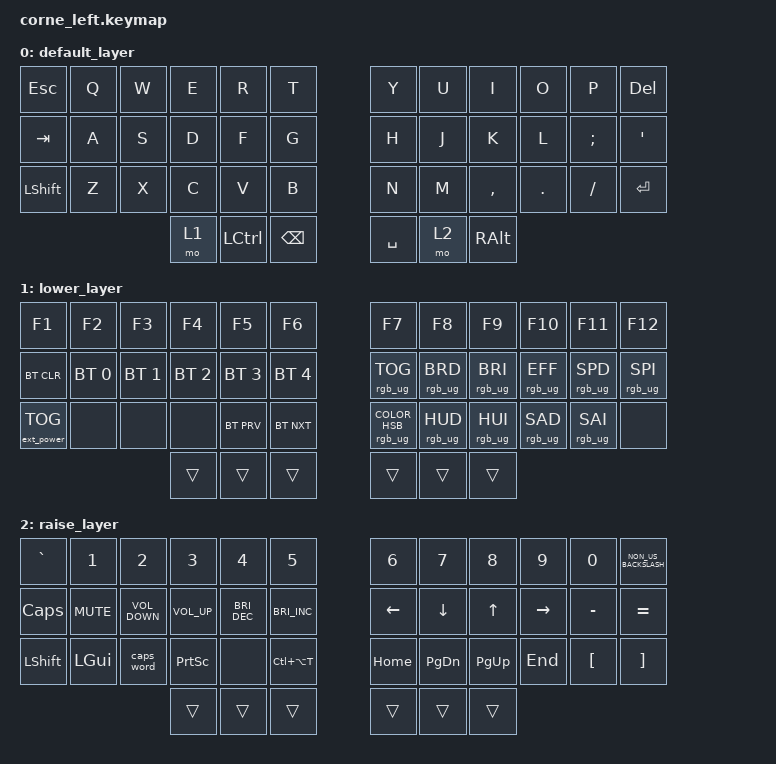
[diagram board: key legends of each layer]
/*
 * Copyright (c) 2020 The ZMK Contributors
 * 
 * SPDX-License-Identifier: MIT
 */

#include <behaviors.dtsi>
#include <dt-bindings/zmk/bt.h>
#include <dt-bindings/zmk/ext_power.h>
#include <dt-bindings/zmk/keys.h>
#include <dt-bindings/zmk/rgb.h>

/ {
    keymap {
        compatible = "zmk,keymap";

        default_layer {
            // -----------------------------------------------------------------------------------------
            // |  TAB |  Q  |  W  |  E  |  R  |  T  |   |  Y  |  U   |  I  |  O  |  P  | BKSP |
            // | CTRL |  A  |  S  |  D  |  F  |  G  |   |  H  |  J   |  K  |  L  |  ;  |  '   |
            // | SHFT |  Z  |  X  |  C  |  V  |  B  |   |  N  |  M   |  ,  |  .  |  /  | ESC  |
            //                    | GUI | LWR | SPC |   | ENT | RSE  | ALT |

            bindings = <
&kp ESCAPE  &kp Q  &kp W  &kp E  &kp R          &kp T               &kp Y  &kp U      &kp I      &kp O    &kp P     &kp DELETE
&kp TAB     &kp A  &kp S  &kp D  &kp F          &kp G               &kp H  &kp J      &kp K      &kp L    &kp SEMI  &kp SQT
&kp LSHFT   &kp Z  &kp X  &kp C  &kp V          &kp B               &kp N  &kp M      &kp COMMA  &kp DOT  &kp FSLH  &kp ENTER
                          &mo 1  &kp LEFT_CONTROL  &kp BACKSPACE &kp SPACE  &mo 2  &kp RALT
            >;
        };

        lower_layer {
            // -----------------------------------------------------------------------------------------
            // |  TAB |  1  |  2  |  3  |  4  |  5  |   |  6  |  7  |  8  |  9  |  0  | BKSP |
            // | BTCLR| BT1 | BT2 | BT3 | BT4 | BT5 |   | LFT | DWN |  UP | RGT |     |      |
            // | SHFT |     |     |     |     |     |   |     |     |     |     |     |      |
            //                    | GUI |     | SPC |   | ENT |     | ALT |

            bindings = <
&kp F1             &kp F2        &kp F3        &kp F4        &kp F5        &kp F6          &kp F7                          &kp F8           &kp F9           &kp F10          &kp F11          &kp F12
&bt BT_CLR         &bt BT_SEL 0  &bt BT_SEL 1  &bt BT_SEL 2  &bt BT_SEL 3  &bt BT_SEL 4    &rgb_ug RGB_TOG                 &rgb_ug RGB_BRD  &rgb_ug RGB_BRI  &rgb_ug RGB_EFF  &rgb_ug RGB_SPD  &rgb_ug RGB_SPI
&ext_power EP_TOG  &none         &none         &none         &bt BT_PRV    &bt BT_NXT      &rgb_ug RGB_COLOR_HSB(0,91,50)  &rgb_ug RGB_HUD  &rgb_ug RGB_HUI  &rgb_ug RGB_SAD  &rgb_ug RGB_SAI  &none
                                               &trans        &trans        &trans          &trans                          &trans           &trans
            >;
        };

        raise_layer {
            // -----------------------------------------------------------------------------------------
            // |  TAB |  !  |  @  |  #  |  $  |  %  |   |  ^  |  &  |  *  |  (  |  )  | BKSP |
            // | CTRL |     |     |     |     |     |   |  -  |  =  |  [  |  ]  |  \  |  `   |
            // | SHFT |     |     |     |     |     |   |  _  |  +  |  {  |  }  | "|" |  ~   |
            //                    | GUI |     | SPC |   | ENT |     | ALT |

            bindings = <
&kp GRAVE     &kp NUMBER_1  &kp NUMBER_2       &kp NUMBER_3     &kp NUMBER_4          &kp N5                  &kp NUMBER_6  &kp N7         &kp N8        &kp N9     &kp N0            &kp NON_US_BACKSLASH
&kp CAPSLOCK  &kp C_MUTE    &kp C_VOLUME_DOWN  &kp C_VOLUME_UP  &kp C_BRIGHTNESS_DEC  &kp C_BRIGHTNESS_INC    &kp LEFT      &kp DOWN       &kp UP_ARROW  &kp RIGHT  &kp MINUS         &kp EQUAL
&kp LSHFT     &kp LEFT_GUI  &caps_word         &kp PRINTSCREEN  &none                 &kp LC(LA(T))           &kp HOME      &kp PAGE_DOWN  &kp PAGE_UP   &kp END    &kp LEFT_BRACKET  &kp RIGHT_BRACKET
                                               &trans           &trans                &trans                  &trans        &trans         &trans
            >;
        };
    };
};


&kscan0 {
    row-gpios
        = <&pro_micro 16 (GPIO_ACTIVE_HIGH | GPIO_PULL_DOWN)>
        , <&pro_micro 5 (GPIO_ACTIVE_HIGH | GPIO_PULL_DOWN)>
        , <&pro_micro 6 (GPIO_ACTIVE_HIGH | GPIO_PULL_DOWN)>
        , <&pro_micro 7 (GPIO_ACTIVE_HIGH | GPIO_PULL_DOWN)>
        ;
    col-gpios
        = <&pro_micro 21 GPIO_ACTIVE_HIGH>
        , <&pro_micro 20 GPIO_ACTIVE_HIGH>
        , <&pro_micro 19 GPIO_ACTIVE_HIGH>
        , <&pro_micro 18 GPIO_ACTIVE_HIGH>
        , <&pro_micro 10 GPIO_ACTIVE_HIGH>
        , <&pro_micro 14 GPIO_ACTIVE_HIGH>
        ;
};

&led_strip {
    chain-length = <27>;
};

nice_view_spi: &spi0 {
    cs-gpios = <&pro_micro 0 GPIO_ACTIVE_HIGH>;
};
